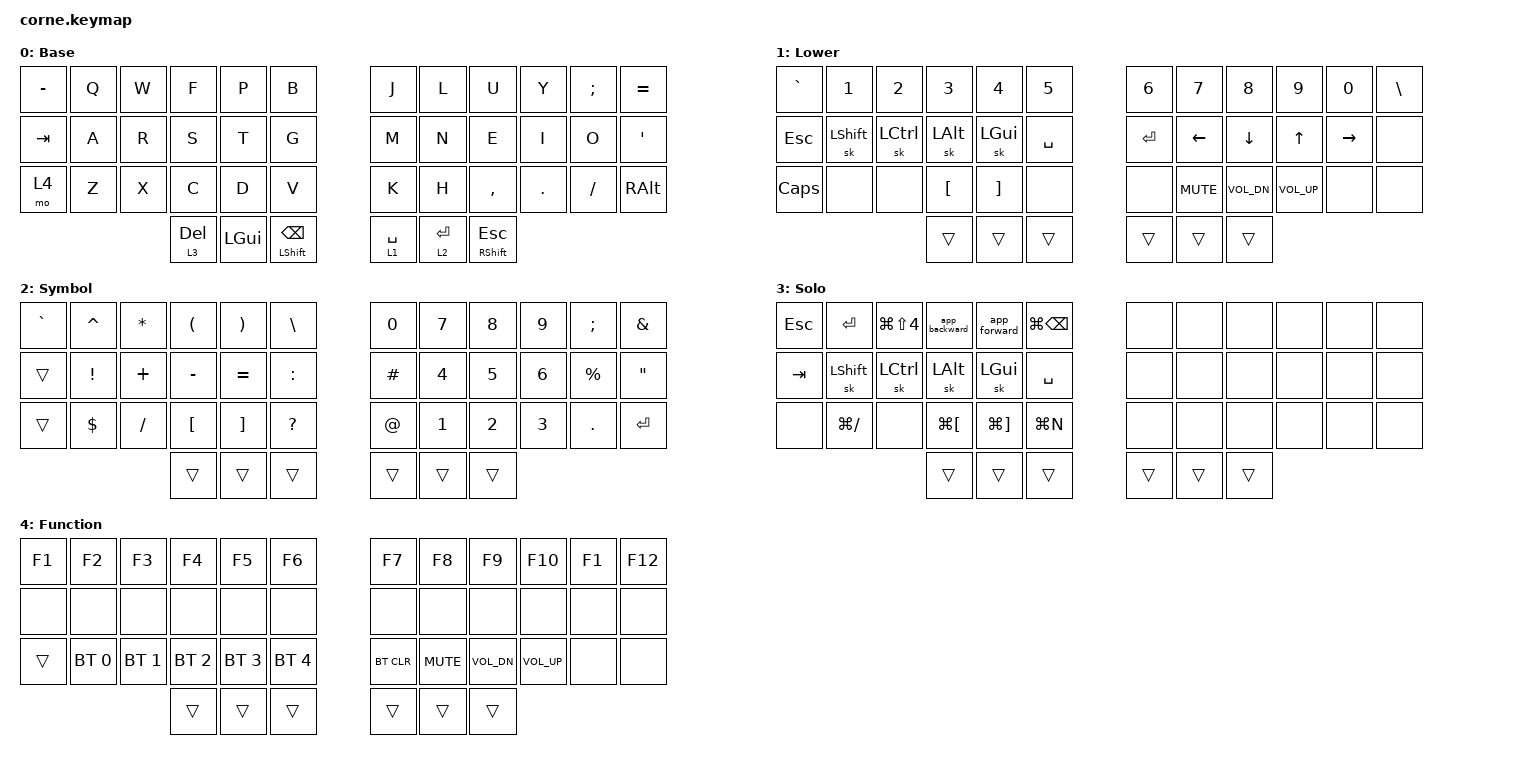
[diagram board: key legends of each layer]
/*
 * Copyright (c) 2020 The ZMK Contributors
 *
 * SPDX-License-Identifier: MIT
 */

#include <behaviors.dtsi>
#include <dt-bindings/zmk/keys.h>
#include <dt-bindings/zmk/bt.h>

/ {
    macros {
        // Triggers the app switcher forward
        app_forward: app_forward {
            label = "&APP_FORWARD";
            compatible = "zmk,behavior-macro";
            #binding-cells = <0>;
            tap-ms = <20>;
            wait-ms = <20>;
            bindings = <&macro_press>
                , <&kp LGUI>
                , <&macro_tap>
                , <&kp TAB>
                , <&macro_tap>
                , <&sk LGUI>
                , <&macro_release>
                , <&kp LGUI>;
        };

        // Triggers the app switcher backward
        app_backward: app_backward {
            label = "&APP_BACKWARD";
            compatible = "zmk,behavior-macro";
            #binding-cells = <0>;
            tap-ms = <20>;
            wait-ms = <20>;
            bindings = <&macro_press>
                , <&kp LGUI>
                , <&macro_tap>
                , <&kp LS(TAB)>
                , <&macro_tap>
                , <&sk LGUI>
                , <&macro_release>
                , <&kp LGUI>;
        };
    };
};

/ {
    behaviors {
        // Fires one key on tap (or tap and hold) or acts as a modifier on hold
        dth: double_tap_hold {
            compatible = "zmk,behavior-hold-tap";
            #binding-cells = <2>;
            tapping-term-ms = <200>;
            bindings = <&kp>, <&kp>;
            flavor = "hold-preferred";
            quick-tap-ms = <300>;
            display-name = "Double-Tap-Hold";
        };
        
        // Fires a key on tap or activates a layer on hold
        khl: key_tap_hold_layer {
            compatible = "zmk,behavior-hold-tap";
            #binding-cells = <2>;
            tapping-term-ms = <200>;
            bindings = <&mo>, <&kp>;
            flavor = "balanced";
            quick-tap-ms = <300>;
            display-name = "Key-Tap-Hold-Layer";
        };
    };
};

/ {
        keymap {
                compatible = "zmk,keymap";

                default_layer {
// -----------------------------------------------------------------------------------------
// |  -   |  Q  |  W  |  F  |  P  |  B  |   |  J  |  L   |  U  |  Y  |  ;  |  =   |
// | TAB  |  A  |  R  |  S  |  T  |  G  |   |  M  |  N   |  E  |  I  |  O  |  '   |
// | FUNC |  Z  |  X  |  C  |  D  |  V  |   |  K  |  H   |  ,  |  .  |  /  | ALT  |
//                    | DEL | GUI | BSP |   | SPC | RET  | ESC |
                        display-name = "Base";
                        bindings = <
   &kp MINUS &kp Q &kp W &kp F &kp P &kp B   &kp J &kp L  &kp U     &kp Y   &kp SEMI &kp EQUAL
   &kp TAB   &kp A &kp R &kp S &kp T &kp G   &kp M &kp N  &kp E     &kp I   &kp O    &kp SQT
   &mo 4     &kp Z &kp X &kp C &kp D &kp V   &kp K &kp H  &kp COMMA &kp DOT &kp FSLH &kp RALT
      &khl 3 DEL &kp LGUI &dth LSHIFT BSPC   &khl 1 SPACE &khl 2 RET &mt RSHIFT ESC
                        >;
                };

                lower_layer {
// -----------------------------------------------------------------------------------------
// |  `   |  1   |  2   |  3  |  4  |  5  |   |  6  |  7   |  8   |  9   |  0    |  \   |
// | ESC  | SHFT | CTRL | ALT | GUI | SPC |   | RET | LEFT | DOWN |  UP  | RIGHT |      |
// | CLCK |      |      |  [  |  ]  |     |   |     | MUTE | VOL- | VOL+ |       |      |
//                      | DEL | GUI | BSP |   | --- | RET  | ESC |
                        display-name = "Lower";
                        bindings = <
   &kp GRAVE &kp N1     &kp N2     &kp N3     &kp N4    &kp N5       &kp N6   &kp N7     &kp N8       &kp N9        &kp N0    &kp BSLH
   &kp ESC   &sk LSHFT  &sk LCTRL  &sk LALT   &sk LGUI  &kp SPACE    &kp RET  &kp LEFT   &kp DOWN     &kp UP        &kp RIGHT &none
   &kp CLCK  &none      &none      &kp LBKT   &kp RBKT  &none        &none    &kp C_MUTE &kp C_VOL_DN &kp C_VOL_UP  &none     &none
                          	       &trans     &trans    &trans       &trans   &trans   &trans
                        >;
                };

                symbol_layer {
// -----------------------------------------------------------------------------------------
// |  `   |  ^  |  *  |  (  |  )  |  \  |   |  0  |  7  |  8  |  9  |  ;  |  &   |
// |      |  !  |  +  |  -  |  =  |  :  |   |  #  |  4  |  5  |  6  |  %  |  "   |
// |      |  $  |  /  |  [  |  ]  |  ?  |   |  @  |  1  |  2  |  3  |  .  | RET  |
//                    | DEL | GUI | BSP |   | SPC | --- | ESC |
                        display-name = "Symbol";
                        bindings = <
   &kp GRAVE &kp CARET &kp STAR &kp LPAR  &kp RPAR  &kp BSLH    &kp N0    &kp N7    &kp N8    &kp N9   &kp SEMI  &kp AMPS
   &trans    &kp EXCL  &kp PLUS &kp MINUS &kp EQUAL &kp COLON   &kp HASH  &kp N4    &kp N5    &kp N6   &kp PRCNT &kp DQT
   &trans    &kp DLLR  &kp FSLH &kp LBKT  &kp RBKT  &kp QMARK   &kp AT    &kp N1    &kp N2    &kp N3   &kp DOT   &kp RET
                    	        &trans    &trans    &trans      &trans    &trans    &trans
                        >;
                };

                solo_layer {
// -----------------------------------------------------------------------------------------
// | ESC  | RET   | CMD-SHFT-4 | App-  | App+  | CMD-BSPC |   |  |  |  |  |  |  |
// | TAB  | SHFT  | CTRL       | OPT   | GUI   | SPACE    |   |  |  |  |  |  |  |
// |      | CMD-/ |            | CMD-[ | CMD-] | CMD-N    |   |  |  |  |  |  |  |
//                             | ---   | GUI   | BKSP     |   |  |  |  |
                        display-name = "Solo";
                        bindings = <
   &kp ESC   &kp RET      &kp LG(LS(N4)) &app_backward   &app_forward &kp LG(BSPC)   &none  &none  &none  &none  &none  &none
   &kp TAB   &sk LSHFT    &sk LCTRL      &sk LALT        &sk LGUI     &kp SPACE      &none  &none  &none  &none  &none  &none
   &none     &kp LG(FSLH) &none          &kp LG(LBKT)    &kp LG(RBKT) &kp LG(N)      &none  &none  &none  &none  &none  &none
                          	             &trans          &trans       &trans         &trans &trans &trans
                        >;
                };

               function_layer {
// -----------------------------------------------------------------------------------------
// | F1  | F2  | F3  | F4  | F5  | F6  |   | F7    | F8   | F9   | F10  | F11   | F12  |
// |     |     |     |     |     |     |   |       |      |      |      |       |      |
// | --- | BT1 | BT2 | BT3 | BT4 | BT5 |   | BTCLR | MUTE | VOL- | VOL+ |       |      |
//                   | DEL | GUI | BSP |   | SPC   | RET  | ESC  |
                        display-name = "Function";
                        bindings = <
   &kp F1  &kp F2       &kp F3       &kp F4       &kp F5       &kp F6           &kp F7      &kp F8     &kp F9       &kp F10       &kp F1  &kp F12
   &none   &none        &none        &none        &none        &none            &none       &none      &none        &none         &none   &none
   &trans  &bt BT_SEL 0 &bt BT_SEL 1 &bt BT_SEL 2 &bt BT_SEL 3 &bt BT_SEL 4     &bt BT_CLR  &kp C_MUTE &kp C_VOL_DN &kp C_VOL_UP  &none   &none
                          	         &trans       &trans       &trans           &trans      &trans   &trans
                        >;
                };

                extra_1 {
                        status = "reserved";
                };
        };
};
